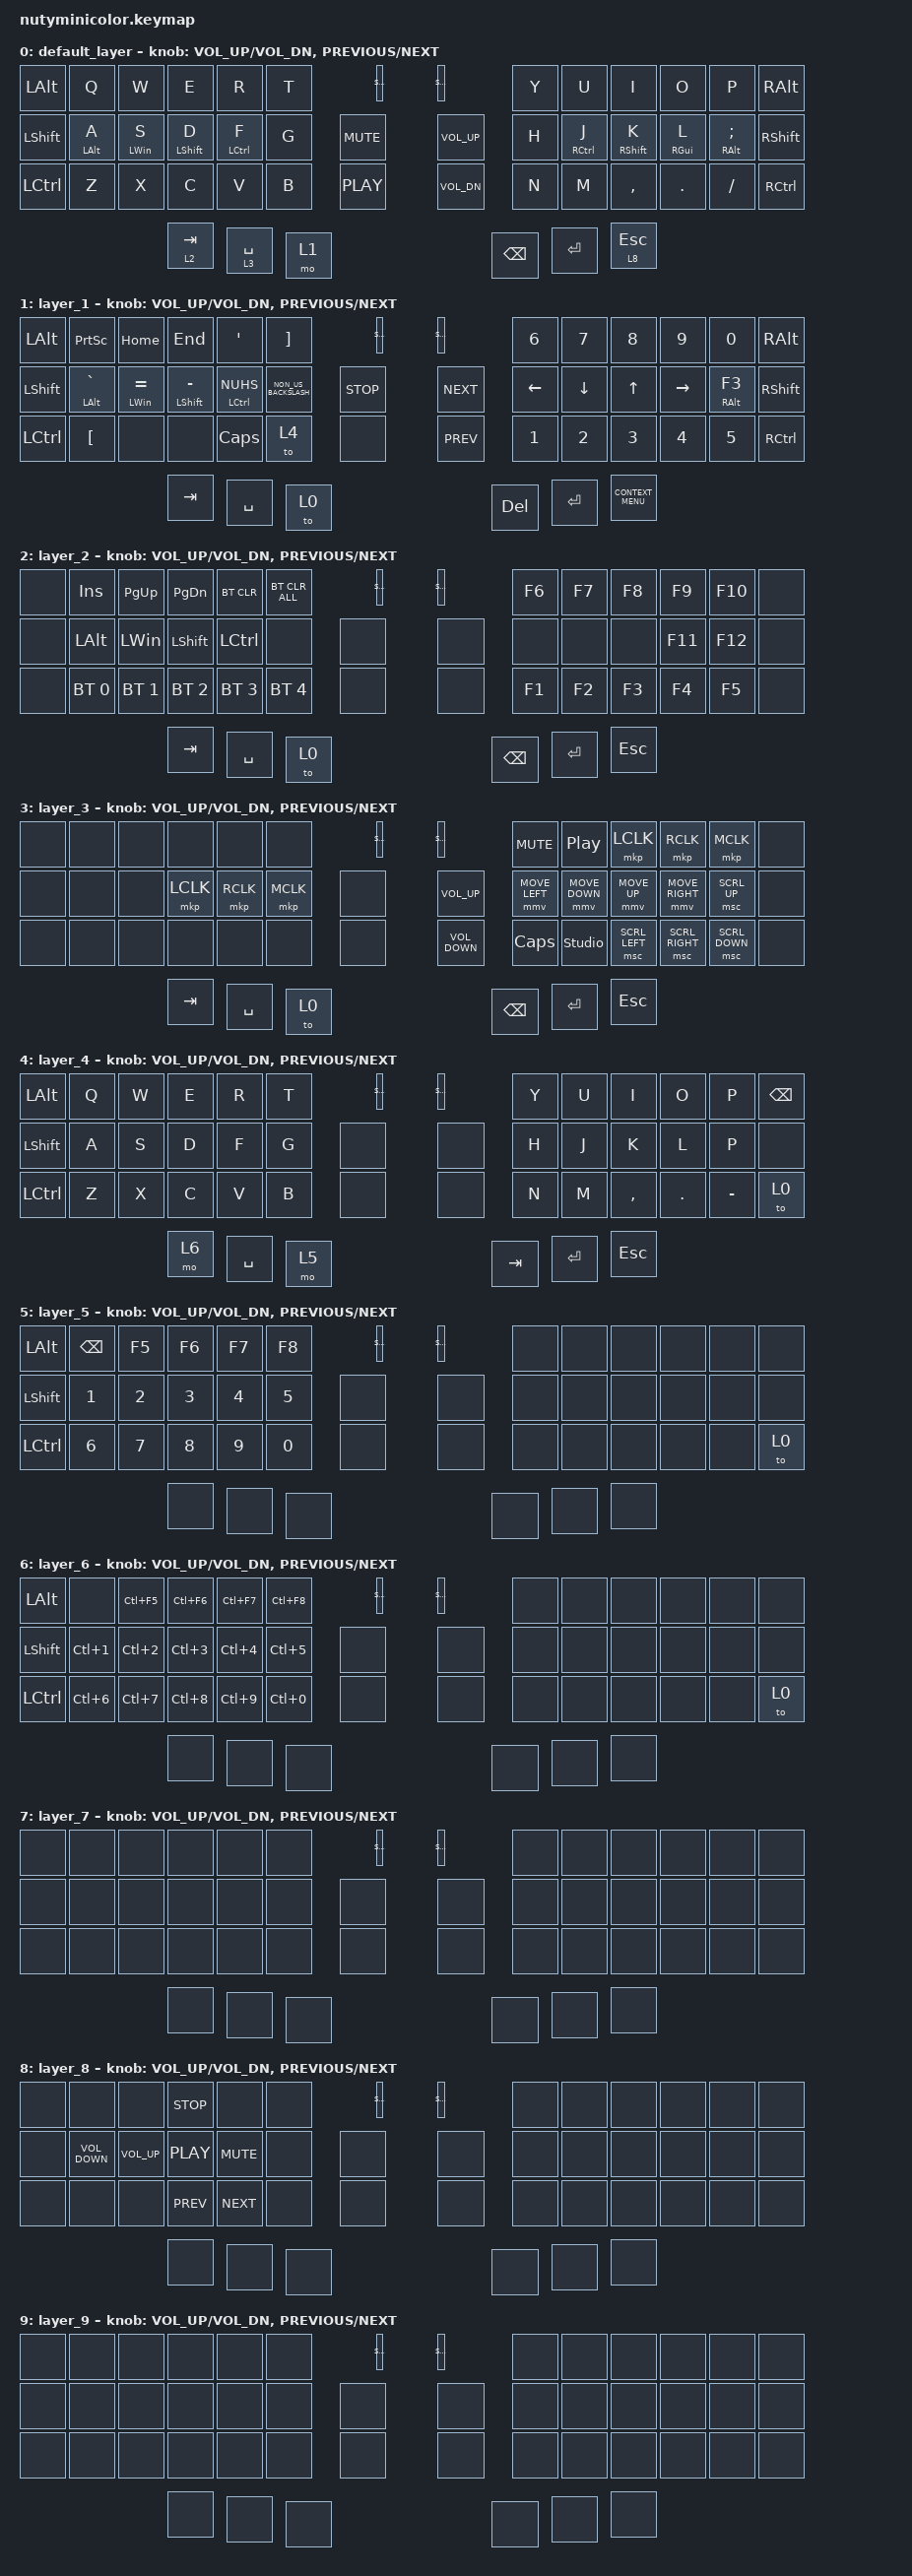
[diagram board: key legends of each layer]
/*
 * Copyright (c) 2020 The ZMK Contributors
 *
 * SPDX-License-Identifier: MIT
 */

#include <behaviors.dtsi>
#include <dt-bindings/zmk/bt.h>
#include <dt-bindings/zmk/keys.h>
#include <dt-bindings/zmk/pointing.h>

/ {
    behaviors {
        hm: homerow_mods {
            compatible = "zmk,behavior-hold-tap";
            #binding-cells = <2>;
            tapping-term-ms = <150>;
            flavor = "tap-preferred";
            require-prior-idle-ms = <125>;
            bindings = <&kp>, <&kp>;
        };
    };

    keymap {
        compatible = "zmk,keymap";

        default_layer {
            bindings = <
&kp LEFT_ALT      &kp Q           &kp W           &kp E             &kp R        &kp T           &kp Y           &kp U         &kp I              &kp O            &kp P               &kp RIGHT_ALT
&kp LEFT_SHIFT    &hm LEFT_ALT A  &hm LEFT_WIN S  &hm LEFT_SHIFT D  &hm LCTRL F  &kp G           &kp H           &hm RCTRL J   &hm RIGHT_SHIFT K  &hm RIGHT_GUI L  &hm RIGHT_ALT SEMI  &kp RIGHT_SHIFT
&kp LEFT_CONTROL  &kp Z           &kp X           &kp C             &kp V        &kp B           &kp N           &kp M         &kp COMMA          &kp DOT          &kp FSLH            &kp RIGHT_CONTROL
&lt 2 TAB         &lt 3 SPACE     &mo 1           &kp C_PLAY        &kp C_MUTE   &studio_unlock  &studio_unlock  &kp C_VOL_UP  &kp C_VOL_DN       &kp BACKSPACE    &kp ENTER           &lt 8 ESCAPE
            >;
            sensor-bindings = <&inc_dec_kp C_VOL_UP C_VOL_DN &inc_dec_kp C_PREVIOUS C_NEXT>;
        };

        layer_1 {
            bindings = <
&kp LEFT_ALT      &kp PRINTSCREEN     &kp HOME            &kp END               &kp APOS        &kp RBKT              &kp N6          &kp N7      &kp N8      &kp N9      &kp N0            &kp RIGHT_ALT
&kp LEFT_SHIFT    &hm LEFT_ALT GRAVE  &hm LEFT_WIN EQUAL  &hm LEFT_SHIFT MINUS  &hm LCTRL NUHS  &kp NON_US_BACKSLASH  &kp LEFT        &kp DOWN    &kp UP      &kp RIGHT   &hm RIGHT_ALT F3  &kp RIGHT_SHIFT
&kp LEFT_CONTROL  &kp LEFT_BRACKET    &none               &none                 &kp CAPSLOCK    &to 4                 &kp N1          &kp N2      &kp N3      &kp N4      &kp N5            &kp RIGHT_CONTROL
&kp TAB           &kp SPACE           &to 0               &none                 &kp C_STOP      &studio_unlock        &studio_unlock  &kp C_NEXT  &kp C_PREV  &kp DELETE  &kp ENTER         &kp K_CONTEXT_MENU
            >;
            sensor-bindings = <&inc_dec_kp C_VOL_UP C_VOL_DN &inc_dec_kp C_PREVIOUS C_NEXT>;

        };

        layer_2 {
            bindings = <
&none    &kp INSERT    &kp PG_UP     &kp PG_DN       &bt BT_CLR        &bt BT_CLR_ALL  &kp F6          &kp F7  &kp F8  &kp F9         &kp F10    &none
&none    &kp LEFT_ALT  &kp LEFT_WIN  &kp LEFT_SHIFT  &kp LEFT_CONTROL  &none           &none           &none   &none   &kp F11        &kp F12    &none
&none    &bt BT_SEL 0  &bt BT_SEL 1  &bt BT_SEL 2    &bt BT_SEL 3      &bt BT_SEL 4    &kp F1          &kp F2  &kp F3  &kp F4         &kp F5     &none
&kp TAB  &kp SPACE     &to 0         &none           &none             &studio_unlock  &studio_unlock  &none   &none   &kp BACKSPACE  &kp ENTER  &kp ESC
            >;
            sensor-bindings = <&inc_dec_kp C_VOL_UP C_VOL_DN &inc_dec_kp C_PREVIOUS C_NEXT>;
        };

        layer_3 {
            bindings = <
&none    &none      &none  &none      &none      &none           &kp C_MUTE      &kp C_PP         &mkp LCLK          &mkp RCLK        &mkp MCLK       &none
&none    &none      &none  &mkp LCLK  &mkp RCLK  &mkp MCLK       &mmv MOVE_LEFT  &mmv MOVE_DOWN   &mmv MOVE_UP       &mmv MOVE_RIGHT  &msc SCRL_UP    &none
&none    &none      &none  &none      &none      &none           &kp CAPSLOCK    &studio_unlock   &msc SCRL_LEFT     &msc SCRL_RIGHT  &msc SCRL_DOWN  &none
&kp TAB  &kp SPACE  &to 0  &none      &none      &studio_unlock  &studio_unlock  &kp C_VOLUME_UP  &kp C_VOLUME_DOWN  &kp BACKSPACE    &kp ENTER       &kp ESC
            >;
            sensor-bindings = <&inc_dec_kp C_VOL_UP C_VOL_DN &inc_dec_kp C_PREVIOUS C_NEXT>;
        };

        layer_4 {
            bindings = <
&kp LEFT_ALT    &kp Q      &kp W  &kp E  &kp R  &kp T           &kp Y           &kp U  &kp I      &kp O       &kp P      &kp BACKSPACE
&kp LEFT_SHIFT  &kp A      &kp S  &kp D  &kp F  &kp G           &kp H           &kp J  &kp K      &kp L       &kp P      &none
&kp LCTRL       &kp Z      &kp X  &kp C  &kp V  &kp B           &kp N           &kp M  &kp COMMA  &kp PERIOD  &kp MINUS  &to 0
&mo 6           &kp SPACE  &mo 5  &none  &none  &studio_unlock  &studio_unlock  &none  &none      &kp TAB     &kp ENTER  &kp ESC
            >;
            sensor-bindings = <&inc_dec_kp C_VOL_UP C_VOL_DN &inc_dec_kp C_PREVIOUS C_NEXT>;
        };

        layer_5 {
            bindings = <
&kp LEFT_ALT    &kp BACKSPACE  &kp F5        &kp F6        &kp F7        &kp F8          &none           &none  &none  &none  &none  &none
&kp LEFT_SHIFT  &kp NUMBER_1   &kp NUMBER_2  &kp NUMBER_3  &kp NUMBER_4  &kp N5          &none           &none  &none  &none  &none  &none
&kp LCTRL       &kp NUMBER_6   &kp N7        &kp N8        &kp N9        &kp N0          &none           &none  &none  &none  &none  &to 0
&none           &none          &none         &none         &none         &studio_unlock  &studio_unlock  &none  &none  &none  &none  &none
            >;
            sensor-bindings = <&inc_dec_kp C_VOL_UP C_VOL_DN &inc_dec_kp C_PREVIOUS C_NEXT>;
        };

        layer_6 {
            bindings = <
&kp LEFT_ALT    &none             &kp LC(F5)        &kp LC(F6)        &kp LC(F7)        &kp LC(F8)      &none           &none  &none  &none  &none  &none
&kp LEFT_SHIFT  &kp LC(NUMBER_1)  &kp LC(NUMBER_2)  &kp LC(NUMBER_3)  &kp LC(NUMBER_4)  &kp LC(N5)      &none           &none  &none  &none  &none  &none
&kp LCTRL       &kp LC(NUMBER_6)  &kp LC(N7)        &kp LC(N8)        &kp LC(N9)        &kp LC(N0)      &none           &none  &none  &none  &none  &to 0
&none           &none             &none             &none             &none             &studio_unlock  &studio_unlock  &none  &none  &none  &none  &none
            >;
            sensor-bindings = <&inc_dec_kp C_VOL_UP C_VOL_DN &inc_dec_kp C_PREVIOUS C_NEXT>;
        };

        layer_7 {
            bindings = <
&none  &none  &none  &none  &none  &none           &none           &none  &none  &none  &none  &none
&none  &none  &none  &none  &none  &none           &none           &none  &none  &none  &none  &none
&none  &none  &none  &none  &none  &none           &none           &none  &none  &none  &none  &none
&none  &none  &none  &none  &none  &studio_unlock  &studio_unlock  &none  &none  &none  &none  &none
            >;
            sensor-bindings = <&inc_dec_kp C_VOL_UP C_VOL_DN &inc_dec_kp C_PREVIOUS C_NEXT>;
        };

        layer_8 {
            bindings = <
&none  &none              &none         &kp C_STOP  &none       &none           &none           &none  &none  &none  &none  &none
&none  &kp C_VOLUME_DOWN  &kp C_VOL_UP  &kp C_PLAY  &kp C_MUTE  &none           &none           &none  &none  &none  &none  &none
&none  &none              &none         &kp C_PREV  &kp C_NEXT  &none           &none           &none  &none  &none  &none  &none
&none  &none              &none         &none       &none       &studio_unlock  &studio_unlock  &none  &none  &none  &none  &none
            >;
            sensor-bindings = <&inc_dec_kp C_VOL_UP C_VOL_DN &inc_dec_kp C_PREVIOUS C_NEXT>;
        };

        layer_9 {
            bindings = <
&none  &none  &none  &none  &none  &none           &none           &none  &none  &none  &none  &none
&none  &none  &none  &none  &none  &none           &none           &none  &none  &none  &none  &none
&none  &none  &none  &none  &none  &none           &none           &none  &none  &none  &none  &none
&none  &none  &none  &none  &none  &studio_unlock  &studio_unlock  &none  &none  &none  &none  &none
            >;
            sensor-bindings = <&inc_dec_kp C_VOL_UP C_VOL_DN &inc_dec_kp C_PREVIOUS C_NEXT>;
        };
    };
};
